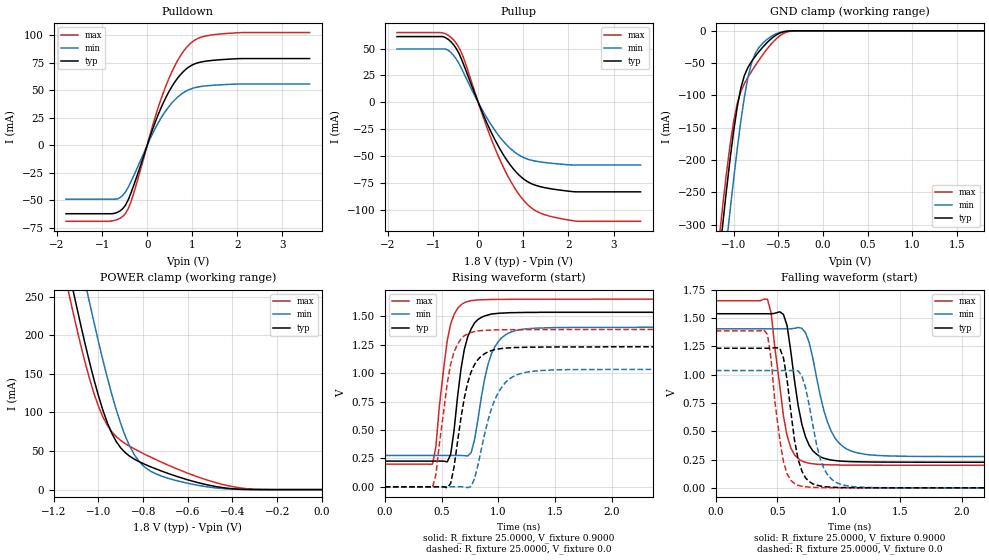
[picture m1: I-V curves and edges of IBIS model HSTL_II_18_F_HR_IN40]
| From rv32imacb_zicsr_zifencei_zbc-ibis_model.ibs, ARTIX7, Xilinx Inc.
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[Model]  HSTL_II_18_F_HR_IN40
Model_type I/O
Polarity   Non-Inverting
Enable   Active-Low
Vinl = 0.8
Vinh = 1.0
Vmeas =  0.9000V
Cref =   0.0F
Rref =   25.0000
Vref =   0.9000V
C_comp   7.6500pF   7.5200pF   7.6500pF
[Model Spec]
Vinl   0.8   0.755   0.845
Vinh   1.0   0.955   1.045
[Temperature Range]   25.0000   85.0000   0.0
[Voltage Range]   1.8000V   1.7100V   1.8900V
[Add Submodel]
| Submodel Name   Mode
IN40_1V8   Non-Driving
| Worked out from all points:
|   slope of the pulldown table from 0 to 0.27 V, typ, clamps not added: 8.87 ohm
|   slope of the pullup table from 0 to 0.27 V, typ, clamps not added: 10.3 ohm
|   GND clamp passes 1 mA (typ) near -0.42 V on its own axis
|   POWER clamp passes 1 mA (typ) near -0.39 V on its own axis
|   rising waveform, R_fixture 25.0000, V_fixture 0.9000: 20-80 % time 109ps typ, 138ps min, 104ps max; typ from 0.226 V to 1.54 V
|   rising waveform, R_fixture 25.0000, V_fixture 0.0: 20-80 % time 133ps typ, 174ps min, 119ps max; typ from 0 V to 1.23 V
|   falling waveform, R_fixture 25.0000, V_fixture 0.9000: 20-80 % time 119ps typ, 156ps min, 107ps max; typ from 1.54 V to 0.226 V
|   falling waveform, R_fixture 25.0000, V_fixture 0.0: 20-80 % time 95.9ps typ, 126ps min, 91.2ps max; typ from 1.23 V to 0 V
[Pulldown]
|Voltage   I(typ)   I(min)   I(max)
-1.8V     -62.2mA    -48.95mA   -69.1mA
-780mV    -62.2mA    -48.95mA   -68.75mA
-600mV    -59.62mA   -47.53mA   -66.31mA
-480mV    -54.38mA   -42.32mA   -61.92mA
-300mV    -36.57mA   -27.8mA    -43.73mA
180mV     21.24mA    15.56mA    26.04mA
420mV     43.93mA    31.85mA    54.57mA
720mV     63.42mA    45.37mA    80.22mA
1.02V     73.47mA    51.99mA    94.69mA
1.26V     76.23mA    53.81mA    99.06mA
1.8V      78.29mA    55.36mA    101.8mA
3.6V      78.86mA    55.7mA     102.5mA
[Pullup]
|Voltage   I(typ)   I(min)   I(max)
-1.8V     61.11mA    49.56mA    64.85mA
-780mV    61.11mA    49.56mA    64.49mA
-660mV    58.38mA    48.24mA    62.2mA
-480mV    49.56mA    39.83mA    54.51mA
-300mV    32.65mA    25.39mA    38.47mA
120mV     -12.25mA   -9.29mA    -14.83mA
480mV     -43.28mA   -32.3mA    -53.3mA
840mV     -64.88mA   -47.33mA   -81.76mA
1.2V      -76.09mA   -54.1mA    -98.86mA
1.56V     -80.07mA   -56.44mA   -105.7mA
2.16V     -83.29mA   -58.28mA   -110.5mA
3.6V      -83.29mA   -58.28mA   -110.7mA
[GND_clamp]
|Voltage   I(typ)   I(min)   I(max)
-1.8V     -1.3A      -1.383A    -1.269A
-1.16V    -348.9mA   -435.6mA   -318.5mA
-1.12V    -296.3mA   -381.5mA   -267.4mA
-1.08V    -245.7mA   -328.8mA   -219.5mA
-1.04V    -198.1mA   -278mA     -176.3mA
-960mV    -117.6mA   -182.5mA   -112.3mA
-920mV    -88.68mA   -139.8mA   -94.04mA
-840mV    -56.6mA    -71.86mA   -71.82mA
-760mV    -39.79mA   -35.41mA   -54.21mA
-560mV    -9.966mA   -7.013mA   -17.38mA
-320mV    -48.25uA   -58.21uA   -167.2uA
1.8V      18.21nA    526.7nA    -33.92nA
[POWER_clamp]
|Voltage   I(typ)   I(min)   I(max)
-1.8V     1.291A     1.371A     1.26A
-1.14V    293.9mA    379.2mA    264mA
-1.1V     239.9mA    323.1mA    212.2mA
-1.06V    188.9mA    268.7mA    164.9mA
-1.04V    165mA      242.3mA    143.6mA
-980mV    102.7mA    167.5mA    94.04mA
-940mV    72.79mA    123mA      74.84mA
-860mV    43.26mA    56.15mA    56.08mA
-800mV    33.74mA    30.98mA    46.86mA
-660mV    18.15mA    12.38mA    28.25mA
-400mV    1.141mA    578.2uA    3.907mA
0V        0A         0A         0A
[Ramp]
| variable   typ   min   max
dV/dt_r  0.7398/0.1325n   0.6210/0.1744n   0.8316/0.1087n
dV/dt_f  0.7755/0.1510n   0.6431/0.2040n   0.8716/0.1166n
R_load = 25.0000
[Rising Waveform]
R_fixture= 25.0000
V_fixture= 0.9000
V_fixture_min= 0.8550
V_fixture_max= 0.9450
|time   V(typ)   V(min)   V(max)
0s        226.3mV    276mV      199.7mV
420ps     226.3mV    276mV      199.3mV
450ps     226.3mV    276mV      353.4mV
550ps     219.6mV    276mV      1.29V
580ps     284.9mV    276mV      1.433V
700ps     1.209V     274.3mV    1.622V
760ps     1.39V      299.5mV    1.64V
940ps     1.522V     1.173V     1.65V
1.09ns    1.533V     1.354V     1.651V
3ns       1.538V     1.405V     1.653V
[Rising Waveform]
R_fixture= 25.0000
V_fixture= 0.0
|time   V(typ)   V(min)   V(max)
0s        0V         0V         0V
420ps     6.623uV    3.626uV    -4.834mV
450ps     -31.19uV   4.934uV    106.9mV
550ps     -9.405mV   3.243uV    915.5mV
580ps     30mV       5.131uV    1.08V
700ps     781.1mV    -967.7uV   1.331V
760ps     1.011V     3.198mV    1.36V
970ps     1.209V     770.3mV    1.382V
1.15ns    1.227V     980.8mV    1.384V
3ns       1.233V     1.035V     1.386V
[Falling Waveform]
R_fixture= 25.0000
V_fixture= 0.9000
V_fixture_min= 0.8550
V_fixture_max= 0.9450
|time   V(typ)   V(min)   V(max)
0s        1.538V     1.405V     1.653V
420ps     1.538V     1.405V     1.666V
450ps     1.537V     1.405V     1.545V
550ps     1.532V     1.405V     634.8mV
580ps     1.432V     1.405V     460.9mV
700ps     561.4mV    1.409V     236.3mV
760ps     374.5mV    1.282V     217.4mV
910ps     252.8mV    576.1mV    204mV
1.09ns    232.4mV    330.2mV    201mV
3ns       226.4mV    276.2mV    199.7mV
[Falling Waveform]
R_fixture= 25.0000
V_fixture= 0.0
|time   V(typ)   V(min)   V(max)
0s        1.233V     1.036V     1.386V
420ps     1.233V     1.036V     1.356V
450ps     1.233V     1.036V     1.131V
480ps     1.238V     1.036V     765.4mV
550ps     1.149V     1.036V     230.5mV
670ps     249.3mV    1.034V     22.26mV
730ps     87.45mV    884.9mV    9.391mV
850ps     16.7mV     255.1mV    2.212mV
1ns       3.684mV    37.68mV    548.8uV
3ns       53.08uV    92.65uV    39.07uV
